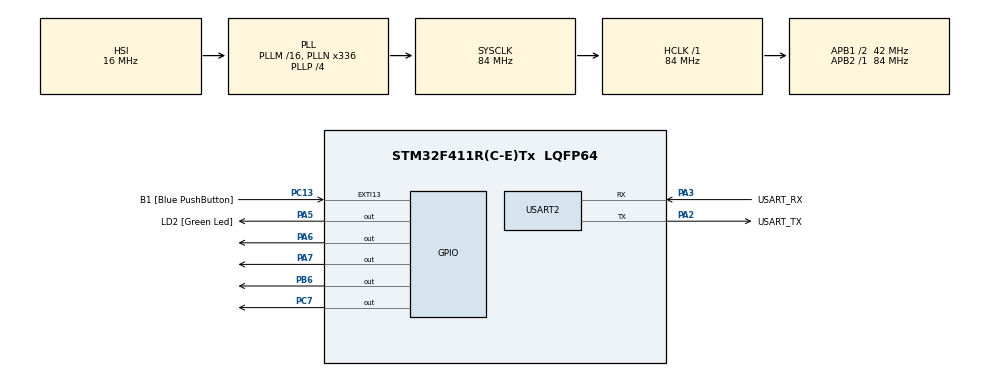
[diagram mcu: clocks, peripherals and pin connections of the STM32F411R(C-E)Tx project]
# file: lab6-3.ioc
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FREERTOS.Mutexes01=myMutex01,Dynamic,NULL,Available
FREERTOS.Tasks01=defaultTask,32,512,StartDefaultTask,Default,NULL,Dynamic,NULL,NULL;myTask02,32,512,StartTask02,Default,NULL,Dynamic,NULL,NULL;myTask03,32,512,StartTask03,Default,NULL,Dynamic,NULL,NULL;myTask04,24,2048,StartTask04,Default,NULL,Dynamic,NULL,NULL;myTask05,24,2048,StartTask05,Default,NULL,Dynamic,NULL,NULL;myTask06,24,2048,StartTask06,Default,NULL,Dynamic,NULL,NULL
FREERTOS.configTOTAL_HEAP_SIZE=40000
Mcu.Family=STM32F4
Mcu.Name=STM32F411R(C-E)Tx
Mcu.Package=LQFP64
NVIC.PriorityGroup=NVIC_PRIORITYGROUP_4
PA13.GPIO_Label=TMS
PA13.Mode=Serial_Wire
PA13.Signal=SYS_JTMS-SWDIO
PA14.GPIO_Label=TCK
PA14.Mode=Serial_Wire
PA14.Signal=SYS_JTCK-SWCLK
PA2.GPIO_Label=USART_TX
PA2.Mode=Asynchronous
PA2.Signal=USART2_TX
PA3.GPIO_Label=USART_RX
PA3.Mode=Asynchronous
PA3.Signal=USART2_RX
PA5.GPIO_Label=LD2 [Green Led]
PA5.Signal=GPIO_Output
PA6.Signal=GPIO_Output
PA7.Signal=GPIO_Output
PB3.GPIO_Label=SWO
PB3.Signal=SYS_JTDO-SWO
PB6.Signal=GPIO_Output
PC13-ANTI_TAMP.GPIO_Label=B1 [Blue PushButton]
PC13-ANTI_TAMP.GPIO_ModeDefaultEXTI=GPIO_MODE_IT_FALLING
PC13-ANTI_TAMP.Signal=GPXTI13
PC14-OSC32_IN.Mode=LSE-External-Oscillator
PC14-OSC32_IN.Signal=RCC_OSC32_IN
PC15-OSC32_OUT.Mode=LSE-External-Oscillator
PC15-OSC32_OUT.Signal=RCC_OSC32_OUT
PC7.Signal=GPIO_Output
PH0\ -\ OSC_IN.Mode=HSE-External-Clock-Source
PH0\ -\ OSC_IN.Signal=RCC_OSC_IN
PH1\ -\ OSC_OUT.Mode=HSE-External-Clock-Source
PH1\ -\ OSC_OUT.Signal=RCC_OSC_OUT
ProjectManager.HeapSize=0x200
ProjectManager.StackSize=0x400
ProjectManager.TargetToolchain=STM32CubeIDE
RCC.48MHZClocksFreq_Value=84000000
RCC.AHBFreq_Value=84000000
RCC.APB1CLKDivider=RCC_HCLK_DIV2
RCC.APB1Freq_Value=42000000
RCC.APB1TimFreq_Value=84000000
RCC.APB2Freq_Value=84000000
RCC.APB2TimFreq_Value=84000000
RCC.CortexFreq_Value=84000000
RCC.FLatency-AdvancedSettings=FLASH_LATENCY_2
RCC.HCLKFreq_Value=84000000
RCC.HSE_VALUE=8000000
RCC.HSI_VALUE=16000000
RCC.PLLN=336
RCC.PLLP=RCC_PLLP_DIV4
RCC.SYSCLKFreq_VALUE=84000000
RCC.SYSCLKSource=RCC_SYSCLKSOURCE_PLLCLK
RCC.VCOOutputFreq_Value=336000000
USART2.VirtualMode=VM_ASYNC
VP_FREERTOS_VS_CMSIS_V2.Mode=CMSIS_V2
board=NUCLEO-F411RE

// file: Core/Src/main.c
/* USER CODE BEGIN Header */
/**
  ******************************************************************************
  * @file           : main.c
  * @brief          : Main program body
  ******************************************************************************
  * @attention
  *
  * Copyright (c) 2026 STMicroelectronics.
  * All rights reserved.
  *
  * This software is licensed under terms that can be found in the LICENSE file
  * in the root directory of this software component.
  * If no LICENSE file comes with this software, it is provided AS-IS.
  *
  ******************************************************************************
  */
/* USER CODE END Header */
#include "main.h"
#include "cmsis_os.h"

UART_HandleTypeDef huart2;

/* Definitions for defaultTask */
osThreadId_t defaultTaskHandle;
const osThreadAttr_t defaultTask_attributes = {
  .name = "defaultTask",
  .stack_size = 512 * 4,
  .priority = (osPriority_t) osPriorityAboveNormal,
};
/* Definitions for myTask02 */
osThreadId_t myTask02Handle;
const osThreadAttr_t myTask02_attributes = {
  .name = "myTask02",
  .stack_size = 512 * 4,
  .priority = (osPriority_t) osPriorityAboveNormal,
};
/* Definitions for myTask03 */
osThreadId_t myTask03Handle;
const osThreadAttr_t myTask03_attributes = {
  .name = "myTask03",
  .stack_size = 512 * 4,
  .priority = (osPriority_t) osPriorityAboveNormal,
};
/* Definitions for myTask04 */
osThreadId_t myTask04Handle;
const osThreadAttr_t myTask04_attributes = {
  .name = "myTask04",
  .stack_size = 2048 * 4,
  .priority = (osPriority_t) osPriorityNormal,
};
/* Definitions for myTask05 */
osThreadId_t myTask05Handle;
const osThreadAttr_t myTask05_attributes = {
  .name = "myTask05",
  .stack_size = 2048 * 4,
  .priority = (osPriority_t) osPriorityNormal,
};
/* Definitions for myTask06 */
osThreadId_t myTask06Handle;
const osThreadAttr_t myTask06_attributes = {
  .name = "myTask06",
  .stack_size = 2048 * 4,
  .priority = (osPriority_t) osPriorityNormal,
};
/* Definitions for myMutex01 */
osMutexId_t myMutex01Handle;
const osMutexAttr_t myMutex01_attributes = {
  .name = "myMutex01"
};

void SystemClock_Config(void);
static void MX_GPIO_Init(void);
static void MX_USART2_UART_Init(void);
void StartDefaultTask(void *argument);
void StartTask02(void *argument);
void StartTask03(void *argument);
void StartTask04(void *argument);
void StartTask05(void *argument);
void StartTask06(void *argument);

int main(void)
{

  /* MCU Configuration--------------------------------------------------------*/

  /* Reset of all peripherals, Initializes the Flash interface and the Systick. */
  HAL_Init();

  /* Configure the system clock */
  SystemClock_Config();

  /* Initialize all configured peripherals */
  MX_GPIO_Init();
  MX_USART2_UART_Init();

  /* Init scheduler */
  osKernelInitialize();
  /* Create the mutex(es) */
  /* creation of myMutex01 */
  myMutex01Handle = osMutexNew(&myMutex01_attributes);

  /* Create the thread(s) */
  /* creation of defaultTask */
  defaultTaskHandle = osThreadNew(StartDefaultTask, NULL, &defaultTask_attributes);

  /* creation of myTask02 */
  myTask02Handle = osThreadNew(StartTask02, NULL, &myTask02_attributes);

  /* creation of myTask03 */
  myTask03Handle = osThreadNew(StartTask03, NULL, &myTask03_attributes);

  /* creation of myTask04 */
  myTask04Handle = osThreadNew(StartTask04, NULL, &myTask04_attributes);

  /* creation of myTask05 */
  myTask05Handle = osThreadNew(StartTask05, NULL, &myTask05_attributes);

  /* creation of myTask06 */
  myTask06Handle = osThreadNew(StartTask06, NULL, &myTask06_attributes);

  /* Start scheduler */
  osKernelStart();

  /* We should never get here as control is now taken by the scheduler */

  /* Infinite loop */
  while (1)
  {

  }
}

void SystemClock_Config(void)
{
  RCC_OscInitTypeDef RCC_OscInitStruct = {0};
  RCC_ClkInitTypeDef RCC_ClkInitStruct = {0};

  /** Configure the main internal regulator output voltage
  */
  __HAL_RCC_PWR_CLK_ENABLE();
  __HAL_PWR_VOLTAGESCALING_CONFIG(PWR_REGULATOR_VOLTAGE_SCALE1);

  /** Initializes the RCC Oscillators according to the specified parameters
  * in the RCC_OscInitTypeDef structure.
  */
  RCC_OscInitStruct.OscillatorType = RCC_OSCILLATORTYPE_HSI;
  RCC_OscInitStruct.HSIState = RCC_HSI_ON;
  RCC_OscInitStruct.HSICalibrationValue = RCC_HSICALIBRATION_DEFAULT;
  RCC_OscInitStruct.PLL.PLLState = RCC_PLL_ON;
  RCC_OscInitStruct.PLL.PLLSource = RCC_PLLSOURCE_HSI;
  RCC_OscInitStruct.PLL.PLLM = 16;
  RCC_OscInitStruct.PLL.PLLN = 336;
  RCC_OscInitStruct.PLL.PLLP = RCC_PLLP_DIV4;
  RCC_OscInitStruct.PLL.PLLQ = 4;
  if (HAL_RCC_OscConfig(&RCC_OscInitStruct) != HAL_OK)
  {
    Error_Handler();
  }

  /** Initializes the CPU, AHB and APB buses clocks
  */
  RCC_ClkInitStruct.ClockType = RCC_CLOCKTYPE_HCLK|RCC_CLOCKTYPE_SYSCLK
                              |RCC_CLOCKTYPE_PCLK1|RCC_CLOCKTYPE_PCLK2;
  RCC_ClkInitStruct.SYSCLKSource = RCC_SYSCLKSOURCE_PLLCLK;
  RCC_ClkInitStruct.AHBCLKDivider = RCC_SYSCLK_DIV1;
  RCC_ClkInitStruct.APB1CLKDivider = RCC_HCLK_DIV2;
  RCC_ClkInitStruct.APB2CLKDivider = RCC_HCLK_DIV1;

  if (HAL_RCC_ClockConfig(&RCC_ClkInitStruct, FLASH_LATENCY_2) != HAL_OK)
  {
    Error_Handler();
  }
}

static void MX_USART2_UART_Init(void)
{

  huart2.Instance = USART2;
  huart2.Init.BaudRate = 115200;
  huart2.Init.WordLength = UART_WORDLENGTH_8B;
  huart2.Init.StopBits = UART_STOPBITS_1;
  huart2.Init.Parity = UART_PARITY_NONE;
  huart2.Init.Mode = UART_MODE_TX_RX;
  huart2.Init.HwFlowCtl = UART_HWCONTROL_NONE;
  huart2.Init.OverSampling = UART_OVERSAMPLING_16;
  if (HAL_UART_Init(&huart2) != HAL_OK)
  {
    Error_Handler();
  }

}

static void MX_GPIO_Init(void)
{
  GPIO_InitTypeDef GPIO_InitStruct = {0};

  /* GPIO Ports Clock Enable */
  __HAL_RCC_GPIOC_CLK_ENABLE();
  __HAL_RCC_GPIOH_CLK_ENABLE();
  __HAL_RCC_GPIOA_CLK_ENABLE();
  __HAL_RCC_GPIOB_CLK_ENABLE();

  /*Configure GPIO pin Output Level */
  HAL_GPIO_WritePin(GPIOA, LD2_Pin|GPIO_PIN_6|GPIO_PIN_7, GPIO_PIN_RESET);

  /*Configure GPIO pin Output Level */
  HAL_GPIO_WritePin(GPIOC, GPIO_PIN_7, GPIO_PIN_RESET);

  /*Configure GPIO pin Output Level */
  HAL_GPIO_WritePin(GPIOB, GPIO_PIN_6, GPIO_PIN_RESET);

  /*Configure GPIO pin : B1_Pin */
  GPIO_InitStruct.Pin = B1_Pin;
  GPIO_InitStruct.Mode = GPIO_MODE_IT_FALLING;
  GPIO_InitStruct.Pull = GPIO_NOPULL;
  HAL_GPIO_Init(B1_GPIO_Port, &GPIO_InitStruct);

  /*Configure GPIO pins : LD2_Pin PA6 PA7 */
  GPIO_InitStruct.Pin = LD2_Pin|GPIO_PIN_6|GPIO_PIN_7;
  GPIO_InitStruct.Mode = GPIO_MODE_OUTPUT_PP;
  GPIO_InitStruct.Pull = GPIO_NOPULL;
  GPIO_InitStruct.Speed = GPIO_SPEED_FREQ_LOW;
  HAL_GPIO_Init(GPIOA, &GPIO_InitStruct);

  /*Configure GPIO pin : PC7 */
  GPIO_InitStruct.Pin = GPIO_PIN_7;
  GPIO_InitStruct.Mode = GPIO_MODE_OUTPUT_PP;
  GPIO_InitStruct.Pull = GPIO_NOPULL;
  GPIO_InitStruct.Speed = GPIO_SPEED_FREQ_LOW;
  HAL_GPIO_Init(GPIOC, &GPIO_InitStruct);

  /*Configure GPIO pin : PB6 */
  GPIO_InitStruct.Pin = GPIO_PIN_6;
  GPIO_InitStruct.Mode = GPIO_MODE_OUTPUT_PP;
  GPIO_InitStruct.Pull = GPIO_NOPULL;
  GPIO_InitStruct.Speed = GPIO_SPEED_FREQ_LOW;
  HAL_GPIO_Init(GPIOB, &GPIO_InitStruct);

}

void StartDefaultTask(void *argument)
{
  /* USER CODE BEGIN 5 */
  /* Infinite loop */
  for(;;)
  {
	    HAL_GPIO_TogglePin(GPIOA, GPIO_PIN_6);
	    osDelay(50);
  }
  /* USER CODE END 5 */
}

void StartTask02(void *argument)
{
  /* USER CODE BEGIN StartTask02 */
  /* Infinite loop */
  for(;;)
  {
	    HAL_GPIO_TogglePin(GPIOA, GPIO_PIN_7);
	    osDelay(18);
  }
  /* USER CODE END StartTask02 */
}

void StartTask03(void *argument)
{
  /* USER CODE BEGIN StartTask03 */
  /* Infinite loop */
  for(;;)
  {
	    HAL_GPIO_TogglePin(GPIOB, GPIO_PIN_6);
	    osDelay(128);
  }
  /* USER CODE END StartTask03 */
}

void StartTask04(void *argument)
{
  /* USER CODE BEGIN StartTask04 */
  /* Infinite loop */
  for(;;)
  {
	    HAL_GPIO_TogglePin(GPIOC, GPIO_PIN_7);
	    osDelay(64);
  }
  /* USER CODE END StartTask04 */
}

void StartTask05(void *argument)
{
  /* USER CODE BEGIN StartTask05 */
  /* Infinite loop */
    int threadID = 0;
    unsigned int index = 0;
    char buffer[32];

    for (;;) {
        snprintf(buffer, sizeof(buffer), "TID: %d %u\r\n",threadID, index);

        osMutexAcquire(myMutex01Handle, osWaitForever);
        if (HAL_UART_Transmit(&huart2, (uint8_t *)buffer,
                              strlen(buffer), 1000) == HAL_OK) {
            index++;
        }
        osMutexRelease(myMutex01Handle);

        osDelay(1);  /* One tick at 1000 Hz: 1 ms resolution. */
    }
  /* USER CODE END StartTask05 */
}

void StartTask06(void *argument)
{
  /* USER CODE BEGIN StartTask06 */
  /* Infinite loop */
    int threadID = 1;
    unsigned int index = 0;
    char buffer[32];

    for (;;) {
        snprintf(buffer, sizeof(buffer), "TID: %d %u\r\n",threadID, index);

        osMutexAcquire(myMutex01Handle, osWaitForever);
        if (HAL_UART_Transmit(&huart2, (uint8_t *)buffer,
                              strlen(buffer), 1000) == HAL_OK) {
            index++;
        }
        osMutexRelease(myMutex01Handle);

        osDelay(1);  /* One tick at 1000 Hz: 1 ms resolution. */
    }
  /* USER CODE END StartTask06 */
}

void Error_Handler(void)
{
  __disable_irq();
  while (1)
  {
  }
}
